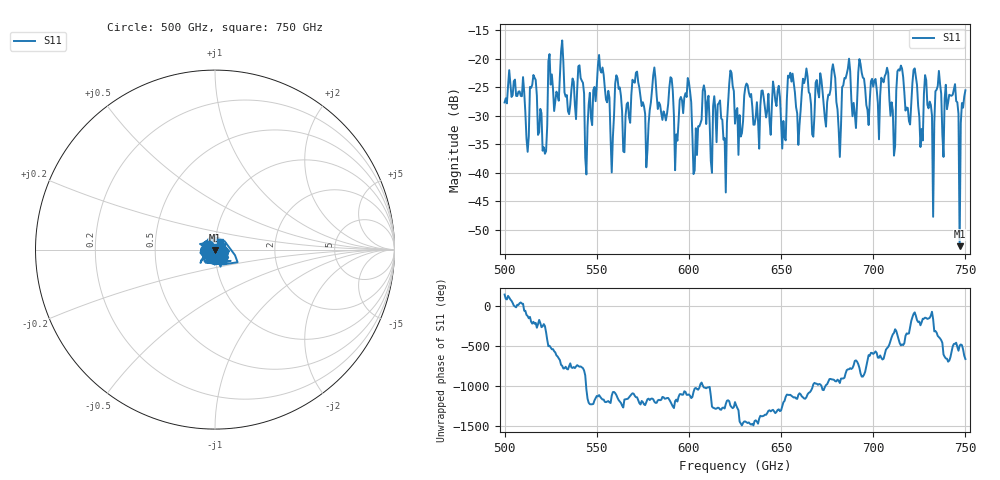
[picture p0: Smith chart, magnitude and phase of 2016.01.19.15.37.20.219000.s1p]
!Created with skrf (http://scikit-rf.org).
# GHz S RI R 50.0
!freq ReS11 ImS11
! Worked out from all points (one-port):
!   401 points, 500 GHz to 750 GHz, reference 50 ohm
!   lowest |S11| = -52.9 dB at 746.9 GHz (marker M1), VSWR 1.00, Z = 49.8 - j0.159 ohm
!   |S11| at or under -10 dB: start of sweep to end of sweep
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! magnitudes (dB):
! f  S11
! 500 GHz  -27.7
! 515.6 GHz  -22.9
! 521.9 GHz  -36.7
! 525 GHz  -24.6
! 531.2 GHz  -16.8
! 541.2 GHz  -23.4
! 544.4 GHz  -40.3
! 551.9 GHz  -22.0
! 558.1 GHz  -39.9
! 562.5 GHz  -25.1
! 577.5 GHz  -36.1
! 590 GHz  -23.3
! 593.8 GHz  -34.4
! 625 GHz  -31.4
! 651.2 GHz  -30.9
! 656.2 GHz  -22.6
! 678.1 GHz  -21.0
! 681.2 GHz  -32.4
! 687.5 GHz  -22.2
! 706.9 GHz  -22.6
! 710.6 GHz  -29.1
! 714.4 GHz  -22.1
! 718.8 GHz  -28.6
! 722.5 GHz  -21.7
! 731.9 GHz  -30.0
! 735.6 GHz  -22.2
! 746.9 GHz  -52.9
! 750 GHz  -25.6
